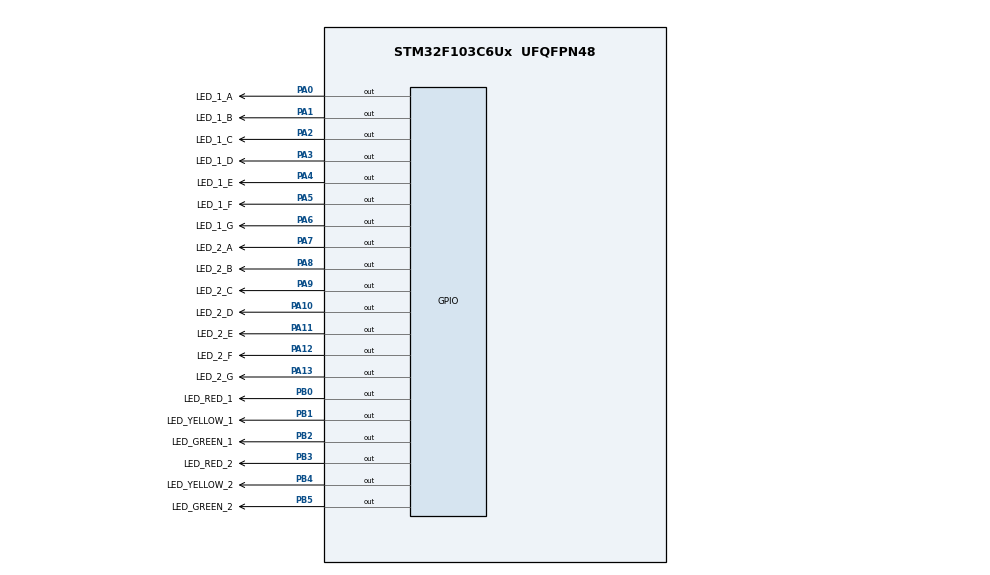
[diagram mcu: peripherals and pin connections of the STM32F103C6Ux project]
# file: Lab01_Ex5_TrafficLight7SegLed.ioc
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Mcu.Family=STM32F1
Mcu.Name=STM32F103C6Ux
Mcu.Package=UFQFPN48
NVIC.PriorityGroup=NVIC_PRIORITYGROUP_4
PA0-WKUP.GPIO_Label=LED_1_A
PA0-WKUP.Signal=GPIO_Output
PA1.GPIO_Label=LED_1_B
PA1.Signal=GPIO_Output
PA10.GPIO_Label=LED_2_D
PA10.Signal=GPIO_Output
PA11.GPIO_Label=LED_2_E
PA11.Signal=GPIO_Output
PA12.GPIO_Label=LED_2_F
PA12.Signal=GPIO_Output
PA13.GPIO_Label=LED_2_G
PA13.Signal=GPIO_Output
PA2.GPIO_Label=LED_1_C
PA2.Signal=GPIO_Output
PA3.GPIO_Label=LED_1_D
PA3.Signal=GPIO_Output
PA4.GPIO_Label=LED_1_E
PA4.Signal=GPIO_Output
PA5.GPIO_Label=LED_1_F
PA5.Signal=GPIO_Output
PA6.GPIO_Label=LED_1_G
PA6.Signal=GPIO_Output
PA7.GPIO_Label=LED_2_A
PA7.Signal=GPIO_Output
PA8.GPIO_Label=LED_2_B
PA8.Signal=GPIO_Output
PA9.GPIO_Label=LED_2_C
PA9.Signal=GPIO_Output
PB0.GPIO_Label=LED_RED_1
PB0.Signal=GPIO_Output
PB1.GPIO_Label=LED_YELLOW_1
PB1.Signal=GPIO_Output
PB2.GPIO_Label=LED_GREEN_1
PB2.Signal=GPIO_Output
PB3.GPIO_Label=LED_RED_2
PB3.Signal=GPIO_Output
PB4.GPIO_Label=LED_YELLOW_2
PB4.Signal=GPIO_Output
PB5.GPIO_Label=LED_GREEN_2
PB5.Signal=GPIO_Output
ProjectManager.HeapSize=0x200
ProjectManager.StackSize=0x400
ProjectManager.TargetToolchain=STM32CubeIDE
RCC.APB1Freq_Value=8000000
RCC.APB2Freq_Value=8000000
VP_SYS_VS_ND.Mode=No_Debug
board=custom

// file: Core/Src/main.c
/* USER CODE BEGIN Header */
/**
  ******************************************************************************
  * @file           : main.c
  * @brief          : Main program body
  ******************************************************************************
  * @attention
  *
  * <h2><center>&copy; Copyright (c) 2022 STMicroelectronics.
  * All rights reserved.</center></h2>
  *
  * This software component is licensed by ST under BSD 3-Clause license,
  * the "License"; You may not use this file except in compliance with the
  * License. You may obtain a copy of the License at:
  *                        opensource.org/licenses/BSD-3-Clause
  *
  ******************************************************************************
  */
/* USER CODE END Header */
#include "main.h"

void SystemClock_Config(void);
static void MX_GPIO_Init(void);

/* USER CODE BEGIN 0 */
void display7SegLED1(int num);
void display7SegLED2(int num);
/* USER CODE END 0 */

int main(void)
{

  /* MCU Configuration--------------------------------------------------------*/

  /* Reset of all peripherals, Initializes the Flash interface and the Systick. */
  HAL_Init();

  /* Configure the system clock */
  SystemClock_Config();

  /* Initialize all configured peripherals */
  MX_GPIO_Init();
  /* USER CODE BEGIN 2 */
  int led_stat_1 = 0, led_stat_2 = 2; //0: turn GREEN on, 1: turn YELLOW on, 2: turn RED on
  int counter_1 = 0, counter_2 = 0;
  const int counter_lst[3] = {3, 2, 5}; //(3: GREEN stays, 2: YELLOW stays, 5: RED stays) * 1000ms
  /* USER CODE END 2 */
  /* Infinite loop */
  while (1)
  {
	  /* USER CODE BEGIN 3 */
	  if (counter_1==0){ // Check 1st traffic light
		  counter_1 = counter_lst[led_stat_1]; //change counter depending on current led state
		  switch(led_stat_1){
			  case 0:{ //turn GREEN on
				  led_stat_1 = 1;
				  HAL_GPIO_WritePin(GPIOB, LED_GREEN_1_Pin, 0);
				  HAL_GPIO_WritePin(GPIOB, LED_YELLOW_1_Pin | LED_RED_1_Pin, 1);
				  break;
			  }
			  case 1:{ //turn YELLOW on
				  led_stat_1 = 2;
				  HAL_GPIO_WritePin(GPIOB, LED_YELLOW_1_Pin, 0);
				  HAL_GPIO_WritePin(GPIOB, LED_RED_1_Pin | LED_GREEN_1_Pin, 1);
				  break;
			  }
			  case 2:{ //turn RED on
				  led_stat_1 = 0;
				  HAL_GPIO_WritePin(GPIOB, LED_RED_1_Pin, 0);
				  HAL_GPIO_WritePin(GPIOB, LED_GREEN_1_Pin | LED_YELLOW_1_Pin, 1);
				  break;
			  }
		  }
	  }
	  if (counter_2==0){ // Check 2nd traffic light
		  counter_2 = counter_lst[led_stat_2]; //change counter depending on current led state
		  switch(led_stat_2){
			  case 0:{ //turn GREEN on
				  led_stat_2 = 1;
				  HAL_GPIO_WritePin(GPIOB, LED_GREEN_2_Pin, 0);
				  HAL_GPIO_WritePin(GPIOB, LED_YELLOW_2_Pin | LED_RED_2_Pin, 1);
				  break;
			  }
			  case 1:{ //turn YELLOW on
				  led_stat_2 = 2;
				  HAL_GPIO_WritePin(GPIOB, LED_YELLOW_2_Pin, 0);
				  HAL_GPIO_WritePin(GPIOB, LED_RED_2_Pin | LED_GREEN_2_Pin, 1);
				  break;
			  }
			  case 2:{ //turn RED on
				  led_stat_2 = 0;
				  HAL_GPIO_WritePin(GPIOB, LED_RED_2_Pin, 0);
				  HAL_GPIO_WritePin(GPIOB, LED_GREEN_2_Pin | LED_YELLOW_2_Pin, 1);
				  break;
			  }
		  }
	  }
	  display7SegLED1(counter_1); //display 7-seg led using current counter of 1st traffic
	  display7SegLED2(counter_2); //display 7-seg led using current counter of 2nd traffic
	  counter_1--; counter_2--;
	  HAL_Delay(1000);
   }
  /* USER CODE END 3 */
}

void SystemClock_Config(void)
{
  RCC_OscInitTypeDef RCC_OscInitStruct = {0};
  RCC_ClkInitTypeDef RCC_ClkInitStruct = {0};

  /** Initializes the RCC Oscillators according to the specified parameters
  * in the RCC_OscInitTypeDef structure.
  */
  RCC_OscInitStruct.OscillatorType = RCC_OSCILLATORTYPE_HSI;
  RCC_OscInitStruct.HSIState = RCC_HSI_ON;
  RCC_OscInitStruct.HSICalibrationValue = RCC_HSICALIBRATION_DEFAULT;
  RCC_OscInitStruct.PLL.PLLState = RCC_PLL_NONE;
  if (HAL_RCC_OscConfig(&RCC_OscInitStruct) != HAL_OK)
  {
    Error_Handler();
  }
  /** Initializes the CPU, AHB and APB buses clocks
  */
  RCC_ClkInitStruct.ClockType = RCC_CLOCKTYPE_HCLK|RCC_CLOCKTYPE_SYSCLK
                              |RCC_CLOCKTYPE_PCLK1|RCC_CLOCKTYPE_PCLK2;
  RCC_ClkInitStruct.SYSCLKSource = RCC_SYSCLKSOURCE_HSI;
  RCC_ClkInitStruct.AHBCLKDivider = RCC_SYSCLK_DIV1;
  RCC_ClkInitStruct.APB1CLKDivider = RCC_HCLK_DIV1;
  RCC_ClkInitStruct.APB2CLKDivider = RCC_HCLK_DIV1;

  if (HAL_RCC_ClockConfig(&RCC_ClkInitStruct, FLASH_LATENCY_0) != HAL_OK)
  {
    Error_Handler();
  }
}

static void MX_GPIO_Init(void)
{
  GPIO_InitTypeDef GPIO_InitStruct = {0};

  /* GPIO Ports Clock Enable */
  __HAL_RCC_GPIOA_CLK_ENABLE();
  __HAL_RCC_GPIOB_CLK_ENABLE();

  /*Configure GPIO pin Output Level */
  HAL_GPIO_WritePin(GPIOA, LED_1_A_Pin|LED_1_B_Pin|LED_1_C_Pin|LED_1_D_Pin
                          |LED_1_E_Pin|LED_1_F_Pin|LED_1_G_Pin|LED_2_A_Pin
                          |LED_2_B_Pin|LED_2_C_Pin|LED_2_D_Pin|LED_2_E_Pin
                          |LED_2_F_Pin|LED_2_G_Pin, GPIO_PIN_RESET);

  /*Configure GPIO pin Output Level */
  HAL_GPIO_WritePin(GPIOB, LED_RED_1_Pin|LED_YELLOW_1_Pin|LED_GREEN_1_Pin|LED_RED_2_Pin
                          |LED_YELLOW_2_Pin|LED_GREEN_2_Pin, GPIO_PIN_RESET);

  /*Configure GPIO pins : LED_1_A_Pin LED_1_B_Pin LED_1_C_Pin LED_1_D_Pin
                           LED_1_E_Pin LED_1_F_Pin LED_1_G_Pin LED_2_A_Pin
                           LED_2_B_Pin LED_2_C_Pin LED_2_D_Pin LED_2_E_Pin
                           LED_2_F_Pin LED_2_G_Pin */
  GPIO_InitStruct.Pin = LED_1_A_Pin|LED_1_B_Pin|LED_1_C_Pin|LED_1_D_Pin
                          |LED_1_E_Pin|LED_1_F_Pin|LED_1_G_Pin|LED_2_A_Pin
                          |LED_2_B_Pin|LED_2_C_Pin|LED_2_D_Pin|LED_2_E_Pin
                          |LED_2_F_Pin|LED_2_G_Pin;
  GPIO_InitStruct.Mode = GPIO_MODE_OUTPUT_PP;
  GPIO_InitStruct.Pull = GPIO_NOPULL;
  GPIO_InitStruct.Speed = GPIO_SPEED_FREQ_LOW;
  HAL_GPIO_Init(GPIOA, &GPIO_InitStruct);

  /*Configure GPIO pins : LED_RED_1_Pin LED_YELLOW_1_Pin LED_GREEN_1_Pin LED_RED_2_Pin
                           LED_YELLOW_2_Pin LED_GREEN_2_Pin */
  GPIO_InitStruct.Pin = LED_RED_1_Pin|LED_YELLOW_1_Pin|LED_GREEN_1_Pin|LED_RED_2_Pin
                          |LED_YELLOW_2_Pin|LED_GREEN_2_Pin;
  GPIO_InitStruct.Mode = GPIO_MODE_OUTPUT_PP;
  GPIO_InitStruct.Pull = GPIO_NOPULL;
  GPIO_InitStruct.Speed = GPIO_SPEED_FREQ_LOW;
  HAL_GPIO_Init(GPIOB, &GPIO_InitStruct);

}

/* USER CODE BEGIN 4 */
void display7SegLED1(int num){
	switch (num){
		case 0:{
			HAL_GPIO_WritePin(LED_1_A_GPIO_Port, LED_1_A_Pin, GPIO_PIN_RESET);
			HAL_GPIO_WritePin(LED_1_B_GPIO_Port, LED_1_B_Pin, GPIO_PIN_RESET);
			HAL_GPIO_WritePin(LED_1_C_GPIO_Port, LED_1_C_Pin, GPIO_PIN_RESET);
			HAL_GPIO_WritePin(LED_1_D_GPIO_Port, LED_1_D_Pin, GPIO_PIN_RESET);
			HAL_GPIO_WritePin(LED_1_E_GPIO_Port, LED_1_E_Pin, GPIO_PIN_RESET);
			HAL_GPIO_WritePin(LED_1_F_GPIO_Port, LED_1_F_Pin, GPIO_PIN_RESET);
			HAL_GPIO_WritePin(LED_1_G_GPIO_Port, LED_1_G_Pin, GPIO_PIN_SET);
			break;
		}
		case 1:{
			HAL_GPIO_WritePin(LED_1_A_GPIO_Port, LED_1_A_Pin, GPIO_PIN_SET);
			HAL_GPIO_WritePin(LED_1_B_GPIO_Port, LED_1_B_Pin, GPIO_PIN_RESET);
			HAL_GPIO_WritePin(LED_1_C_GPIO_Port, LED_1_C_Pin, GPIO_PIN_RESET);
			HAL_GPIO_WritePin(LED_1_D_GPIO_Port, LED_1_D_Pin, GPIO_PIN_SET);
			HAL_GPIO_WritePin(LED_1_E_GPIO_Port, LED_1_E_Pin, GPIO_PIN_SET);
			HAL_GPIO_WritePin(LED_1_F_GPIO_Port, LED_1_F_Pin, GPIO_PIN_SET);
			HAL_GPIO_WritePin(LED_1_G_GPIO_Port, LED_1_G_Pin, GPIO_PIN_SET);
			break;
		}
		case 2:{
			HAL_GPIO_WritePin(LED_1_A_GPIO_Port, LED_1_A_Pin, GPIO_PIN_RESET);
			HAL_GPIO_WritePin(LED_1_B_GPIO_Port, LED_1_B_Pin, GPIO_PIN_RESET);
			HAL_GPIO_WritePin(LED_1_C_GPIO_Port, LED_1_C_Pin, GPIO_PIN_SET);
			HAL_GPIO_WritePin(LED_1_D_GPIO_Port, LED_1_D_Pin, GPIO_PIN_RESET);
			HAL_GPIO_WritePin(LED_1_E_GPIO_Port, LED_1_E_Pin, GPIO_PIN_RESET);
			HAL_GPIO_WritePin(LED_1_F_GPIO_Port, LED_1_F_Pin, GPIO_PIN_SET);
			HAL_GPIO_WritePin(LED_1_G_GPIO_Port, LED_1_G_Pin, GPIO_PIN_RESET);
			break;
		}
		case 3:{
			HAL_GPIO_WritePin(LED_1_A_GPIO_Port, LED_1_A_Pin, GPIO_PIN_RESET);
			HAL_GPIO_WritePin(LED_1_B_GPIO_Port, LED_1_B_Pin, GPIO_PIN_RESET);
			HAL_GPIO_WritePin(LED_1_C_GPIO_Port, LED_1_C_Pin, GPIO_PIN_RESET);
			HAL_GPIO_WritePin(LED_1_D_GPIO_Port, LED_1_D_Pin, GPIO_PIN_RESET);
			HAL_GPIO_WritePin(LED_1_E_GPIO_Port, LED_1_E_Pin, GPIO_PIN_SET);
			HAL_GPIO_WritePin(LED_1_F_GPIO_Port, LED_1_F_Pin, GPIO_PIN_SET);
			HAL_GPIO_WritePin(LED_1_G_GPIO_Port, LED_1_G_Pin, GPIO_PIN_RESET);
			break;
		}
		case 4:{
			HAL_GPIO_WritePin(LED_1_A_GPIO_Port, LED_1_A_Pin, GPIO_PIN_SET);
			HAL_GPIO_WritePin(LED_1_B_GPIO_Port, LED_1_B_Pin, GPIO_PIN_RESET);
			HAL_GPIO_WritePin(LED_1_C_GPIO_Port, LED_1_C_Pin, GPIO_PIN_RESET);
			HAL_GPIO_WritePin(LED_1_D_GPIO_Port, LED_1_D_Pin, GPIO_PIN_SET);
			HAL_GPIO_WritePin(LED_1_E_GPIO_Port, LED_1_E_Pin, GPIO_PIN_SET);
			HAL_GPIO_WritePin(LED_1_F_GPIO_Port, LED_1_F_Pin, GPIO_PIN_RESET);
			HAL_GPIO_WritePin(LED_1_G_GPIO_Port, LED_1_G_Pin, GPIO_PIN_RESET);
			break;
		}
		case 5:{
			HAL_GPIO_WritePin(LED_1_A_GPIO_Port, LED_1_A_Pin, GPIO_PIN_RESET);
			HAL_GPIO_WritePin(LED_1_B_GPIO_Port, LED_1_B_Pin, GPIO_PIN_SET);
			HAL_GPIO_WritePin(LED_1_C_GPIO_Port, LED_1_C_Pin, GPIO_PIN_RESET);
			HAL_GPIO_WritePin(LED_1_D_GPIO_Port, LED_1_D_Pin, GPIO_PIN_RESET);
			HAL_GPIO_WritePin(LED_1_E_GPIO_Port, LED_1_E_Pin, GPIO_PIN_SET);
			HAL_GPIO_WritePin(LED_1_F_GPIO_Port, LED_1_F_Pin, GPIO_PIN_RESET);
			HAL_GPIO_WritePin(LED_1_G_GPIO_Port, LED_1_G_Pin, GPIO_PIN_RESET);
			break;
		}
		case 6:{
			HAL_GPIO_WritePin(LED_1_A_GPIO_Port, LED_1_A_Pin, GPIO_PIN_RESET);
			HAL_GPIO_WritePin(LED_1_B_GPIO_Port, LED_1_B_Pin, GPIO_PIN_SET);
			HAL_GPIO_WritePin(LED_1_C_GPIO_Port, LED_1_C_Pin, GPIO_PIN_RESET);
			HAL_GPIO_WritePin(LED_1_D_GPIO_Port, LED_1_D_Pin, GPIO_PIN_RESET);
			HAL_GPIO_WritePin(LED_1_E_GPIO_Port, LED_1_E_Pin, GPIO_PIN_RESET);
			HAL_GPIO_WritePin(LED_1_F_GPIO_Port, LED_1_F_Pin, GPIO_PIN_RESET);
			HAL_GPIO_WritePin(LED_1_G_GPIO_Port, LED_1_G_Pin, GPIO_PIN_RESET);
			break;
		}
		case 7:{
			HAL_GPIO_WritePin(LED_1_A_GPIO_Port, LED_1_A_Pin, GPIO_PIN_RESET);
			HAL_GPIO_WritePin(LED_1_B_GPIO_Port, LED_1_B_Pin, GPIO_PIN_RESET);
			HAL_GPIO_WritePin(LED_1_C_GPIO_Port, LED_1_C_Pin, GPIO_PIN_RESET);
			HAL_GPIO_WritePin(LED_1_D_GPIO_Port, LED_1_D_Pin, GPIO_PIN_SET);
			HAL_GPIO_WritePin(LED_1_E_GPIO_Port, LED_1_E_Pin, GPIO_PIN_SET);
			HAL_GPIO_WritePin(LED_1_F_GPIO_Port, LED_1_F_Pin, GPIO_PIN_SET);
			HAL_GPIO_WritePin(LED_1_G_GPIO_Port, LED_1_G_Pin, GPIO_PIN_SET);
			break;
		}
		case 8:{
			HAL_GPIO_WritePin(LED_1_A_GPIO_Port, LED_1_A_Pin, GPIO_PIN_RESET);
			HAL_GPIO_WritePin(LED_1_B_GPIO_Port, LED_1_B_Pin, GPIO_PIN_RESET);
			HAL_GPIO_WritePin(LED_1_C_GPIO_Port, LED_1_C_Pin, GPIO_PIN_RESET);
			HAL_GPIO_WritePin(LED_1_D_GPIO_Port, LED_1_D_Pin, GPIO_PIN_RESET);
			HAL_GPIO_WritePin(LED_1_E_GPIO_Port, LED_1_E_Pin, GPIO_PIN_RESET);
			HAL_GPIO_WritePin(LED_1_F_GPIO_Port, LED_1_F_Pin, GPIO_PIN_RESET);
			HAL_GPIO_WritePin(LED_1_G_GPIO_Port, LED_1_G_Pin, GPIO_PIN_RESET);
			break;
		}
		case 9:{
			HAL_GPIO_WritePin(LED_1_A_GPIO_Port, LED_1_A_Pin, GPIO_PIN_RESET);
			HAL_GPIO_WritePin(LED_1_B_GPIO_Port, LED_1_B_Pin, GPIO_PIN_RESET);
			HAL_GPIO_WritePin(LED_1_C_GPIO_Port, LED_1_C_Pin, GPIO_PIN_RESET);
			HAL_GPIO_WritePin(LED_1_D_GPIO_Port, LED_1_D_Pin, GPIO_PIN_RESET);
			HAL_GPIO_WritePin(LED_1_E_GPIO_Port, LED_1_E_Pin, GPIO_PIN_SET);
			HAL_GPIO_WritePin(LED_1_F_GPIO_Port, LED_1_F_Pin, GPIO_PIN_RESET);
			HAL_GPIO_WritePin(LED_1_G_GPIO_Port, LED_1_G_Pin, GPIO_PIN_RESET);
			break;
		}
	}
}

void display7SegLED2(int num){
	switch (num){
		case 0:{
			HAL_GPIO_WritePin(LED_2_A_GPIO_Port, LED_2_A_Pin, GPIO_PIN_RESET);
			HAL_GPIO_WritePin(LED_2_B_GPIO_Port, LED_2_B_Pin, GPIO_PIN_RESET);
			HAL_GPIO_WritePin(LED_2_C_GPIO_Port, LED_2_C_Pin, GPIO_PIN_RESET);
			HAL_GPIO_WritePin(LED_2_D_GPIO_Port, LED_2_D_Pin, GPIO_PIN_RESET);
			HAL_GPIO_WritePin(LED_2_E_GPIO_Port, LED_2_E_Pin, GPIO_PIN_RESET);
			HAL_GPIO_WritePin(LED_2_F_GPIO_Port, LED_2_F_Pin, GPIO_PIN_RESET);
			HAL_GPIO_WritePin(LED_2_G_GPIO_Port, LED_2_G_Pin, GPIO_PIN_SET);
			break;
		}
		case 1:{
			HAL_GPIO_WritePin(LED_2_A_GPIO_Port, LED_2_A_Pin, GPIO_PIN_SET);
			HAL_GPIO_WritePin(LED_2_B_GPIO_Port, LED_2_B_Pin, GPIO_PIN_RESET);
			HAL_GPIO_WritePin(LED_2_C_GPIO_Port, LED_2_C_Pin, GPIO_PIN_RESET);
			HAL_GPIO_WritePin(LED_2_D_GPIO_Port, LED_2_D_Pin, GPIO_PIN_SET);
			HAL_GPIO_WritePin(LED_2_E_GPIO_Port, LED_2_E_Pin, GPIO_PIN_SET);
			HAL_GPIO_WritePin(LED_2_F_GPIO_Port, LED_2_F_Pin, GPIO_PIN_SET);
			HAL_GPIO_WritePin(LED_2_G_GPIO_Port, LED_2_G_Pin, GPIO_PIN_SET);
			break;
		}
		case 2:{
			HAL_GPIO_WritePin(LED_2_A_GPIO_Port, LED_2_A_Pin, GPIO_PIN_RESET);
			HAL_GPIO_WritePin(LED_2_B_GPIO_Port, LED_2_B_Pin, GPIO_PIN_RESET);
			HAL_GPIO_WritePin(LED_2_C_GPIO_Port, LED_2_C_Pin, GPIO_PIN_SET);
			HAL_GPIO_WritePin(LED_2_D_GPIO_Port, LED_2_D_Pin, GPIO_PIN_RESET);
			HAL_GPIO_WritePin(LED_2_E_GPIO_Port, LED_2_E_Pin, GPIO_PIN_RESET);
			HAL_GPIO_WritePin(LED_2_F_GPIO_Port, LED_2_F_Pin, GPIO_PIN_SET);
			HAL_GPIO_WritePin(LED_2_G_GPIO_Port, LED_2_G_Pin, GPIO_PIN_RESET);
			break;
		}
		case 3:{
			HAL_GPIO_WritePin(LED_2_A_GPIO_Port, LED_2_A_Pin, GPIO_PIN_RESET);
			HAL_GPIO_WritePin(LED_2_B_GPIO_Port, LED_2_B_Pin, GPIO_PIN_RESET);
			HAL_GPIO_WritePin(LED_2_C_GPIO_Port, LED_2_C_Pin, GPIO_PIN_RESET);
			HAL_GPIO_WritePin(LED_2_D_GPIO_Port, LED_2_D_Pin, GPIO_PIN_RESET);
			HAL_GPIO_WritePin(LED_2_E_GPIO_Port, LED_2_E_Pin, GPIO_PIN_SET);
			HAL_GPIO_WritePin(LED_2_F_GPIO_Port, LED_2_F_Pin, GPIO_PIN_SET);
			HAL_GPIO_WritePin(LED_2_G_GPIO_Port, LED_2_G_Pin, GPIO_PIN_RESET);
			break;
		}
		case 4:{
			HAL_GPIO_WritePin(LED_2_A_GPIO_Port, LED_2_A_Pin, GPIO_PIN_SET);
			HAL_GPIO_WritePin(LED_2_B_GPIO_Port, LED_2_B_Pin, GPIO_PIN_RESET);
			HAL_GPIO_WritePin(LED_2_C_GPIO_Port, LED_2_C_Pin, GPIO_PIN_RESET);
			HAL_GPIO_WritePin(LED_2_D_GPIO_Port, LED_2_D_Pin, GPIO_PIN_SET);
			HAL_GPIO_WritePin(LED_2_E_GPIO_Port, LED_2_E_Pin, GPIO_PIN_SET);
			HAL_GPIO_WritePin(LED_2_F_GPIO_Port, LED_2_F_Pin, GPIO_PIN_RESET);
			HAL_GPIO_WritePin(LED_2_G_GPIO_Port, LED_2_G_Pin, GPIO_PIN_RESET);
			break;
		}
		case 5:{
			HAL_GPIO_WritePin(LED_2_A_GPIO_Port, LED_2_A_Pin, GPIO_PIN_RESET);
			HAL_GPIO_WritePin(LED_2_B_GPIO_Port, LED_2_B_Pin, GPIO_PIN_SET);
			HAL_GPIO_WritePin(LED_2_C_GPIO_Port, LED_2_C_Pin, GPIO_PIN_RESET);
			HAL_GPIO_WritePin(LED_2_D_GPIO_Port, LED_2_D_Pin, GPIO_PIN_RESET);
			HAL_GPIO_WritePin(LED_2_E_GPIO_Port, LED_2_E_Pin, GPIO_PIN_SET);
			HAL_GPIO_WritePin(LED_2_F_GPIO_Port, LED_2_F_Pin, GPIO_PIN_RESET);
			HAL_GPIO_WritePin(LED_2_G_GPIO_Port, LED_2_G_Pin, GPIO_PIN_RESET);
			break;
		}
		case 6:{
			HAL_GPIO_WritePin(LED_2_A_GPIO_Port, LED_2_A_Pin, GPIO_PIN_RESET);
			HAL_GPIO_WritePin(LED_2_B_GPIO_Port, LED_2_B_Pin, GPIO_PIN_SET);
			HAL_GPIO_WritePin(LED_2_C_GPIO_Port, LED_2_C_Pin, GPIO_PIN_RESET);
			HAL_GPIO_WritePin(LED_2_D_GPIO_Port, LED_2_D_Pin, GPIO_PIN_RESET);
			HAL_GPIO_WritePin(LED_2_E_GPIO_Port, LED_2_E_Pin, GPIO_PIN_RESET);
			HAL_GPIO_WritePin(LED_2_F_GPIO_Port, LED_2_F_Pin, GPIO_PIN_RESET);
			HAL_GPIO_WritePin(LED_2_G_GPIO_Port, LED_2_G_Pin, GPIO_PIN_RESET);
			break;
		}
		case 7:{
			HAL_GPIO_WritePin(LED_2_A_GPIO_Port, LED_2_A_Pin, GPIO_PIN_RESET);
			HAL_GPIO_WritePin(LED_2_B_GPIO_Port, LED_2_B_Pin, GPIO_PIN_RESET);
			HAL_GPIO_WritePin(LED_2_C_GPIO_Port, LED_2_C_Pin, GPIO_PIN_RESET);
			HAL_GPIO_WritePin(LED_2_D_GPIO_Port, LED_2_D_Pin, GPIO_PIN_SET);
			HAL_GPIO_WritePin(LED_2_E_GPIO_Port, LED_2_E_Pin, GPIO_PIN_SET);
			HAL_GPIO_WritePin(LED_2_F_GPIO_Port, LED_2_F_Pin, GPIO_PIN_SET);
			HAL_GPIO_WritePin(LED_2_G_GPIO_Port, LED_2_G_Pin, GPIO_PIN_SET);
			break;
		}
		case 8:{
			HAL_GPIO_WritePin(LED_2_A_GPIO_Port, LED_2_A_Pin, GPIO_PIN_RESET);
			HAL_GPIO_WritePin(LED_2_B_GPIO_Port, LED_2_B_Pin, GPIO_PIN_RESET);
			HAL_GPIO_WritePin(LED_2_C_GPIO_Port, LED_2_C_Pin, GPIO_PIN_RESET);
			HAL_GPIO_WritePin(LED_2_D_GPIO_Port, LED_2_D_Pin, GPIO_PIN_RESET);
			HAL_GPIO_WritePin(LED_2_E_GPIO_Port, LED_2_E_Pin, GPIO_PIN_RESET);
			HAL_GPIO_WritePin(LED_2_F_GPIO_Port, LED_2_F_Pin, GPIO_PIN_RESET);
			HAL_GPIO_WritePin(LED_2_G_GPIO_Port, LED_2_G_Pin, GPIO_PIN_RESET);
			break;
		}
		case 9:{
			HAL_GPIO_WritePin(LED_2_A_GPIO_Port, LED_2_A_Pin, GPIO_PIN_RESET);
			HAL_GPIO_WritePin(LED_2_B_GPIO_Port, LED_2_B_Pin, GPIO_PIN_RESET);
			HAL_GPIO_WritePin(LED_2_C_GPIO_Port, LED_2_C_Pin, GPIO_PIN_RESET);
			HAL_GPIO_WritePin(LED_2_D_GPIO_Port, LED_2_D_Pin, GPIO_PIN_RESET);
			HAL_GPIO_WritePin(LED_2_E_GPIO_Port, LED_2_E_Pin, GPIO_PIN_SET);
			HAL_GPIO_WritePin(LED_2_F_GPIO_Port, LED_2_F_Pin, GPIO_PIN_RESET);
			HAL_GPIO_WritePin(LED_2_G_GPIO_Port, LED_2_G_Pin, GPIO_PIN_RESET);
			break;
		}
	}
}
/* USER CODE END 4 */

void Error_Handler(void)
{
  __disable_irq();
  while (1)
  {
  }
}

/************************ (C) COPYRIGHT STMicroelectronics *****END OF FILE****/
